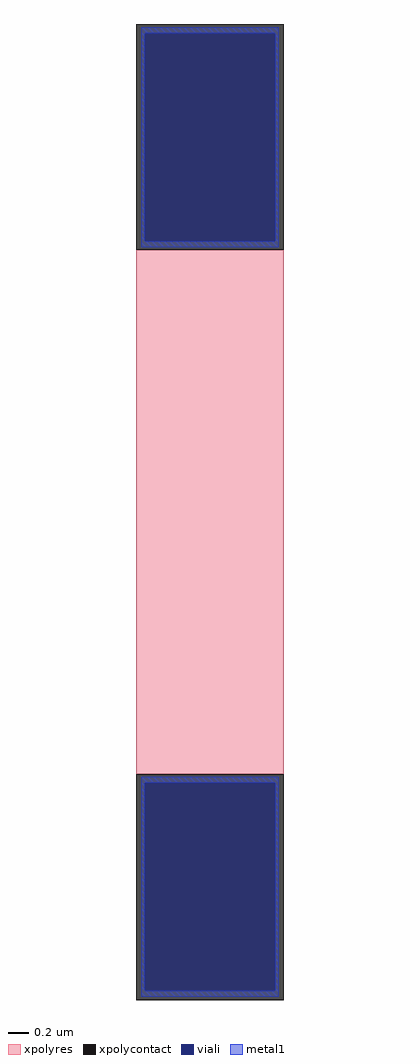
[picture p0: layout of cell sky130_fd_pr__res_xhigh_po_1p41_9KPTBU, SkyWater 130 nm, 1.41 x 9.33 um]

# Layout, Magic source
magic
tech sky130A
magscale 1 2
<< xpolycontact >>
rect -141 501 141 933
rect -141 -933 141 -501
<< xpolyres >>
rect -141 -501 141 501
<< viali >>
rect -125 518 125 915
rect -125 -915 125 -518
<< metal1 >>
rect -131 915 131 927
rect -131 518 -125 915
rect 125 518 131 915
rect -131 506 131 518
rect -131 -518 131 -506
rect -131 -915 -125 -518
rect 125 -915 131 -518
rect -131 -927 131 -915
<< properties >>
string gencell sky130_fd_pr__res_xhigh_po_1p41
string library sky130
string parameters w 1.410 l 5.167 m 1 nx 1 wmin 1.410 lmin 0.50 rho 2000 val 7.596k dummy 0 dw 0.0 term 188.2 sterm 0.0 caplen 0 wmax 1.410 guard 0 glc 1 grc 1 gtc 1 gbc 1 compatible {sky130_fd_pr__res_xhigh_po_0p35  sky130_fd_pr__res_xhigh_po_0p69 sky130_fd_pr__res_xhigh_po_1p41  sky130_fd_pr__res_xhigh_po_2p85 sky130_fd_pr__res_xhigh_po_5p73} snake 0 full_metal 1 n_guard 0 hv_guard 0 vias 1 viagb 0 viagt 0 viagl 0 viagr 0
<< end >>
